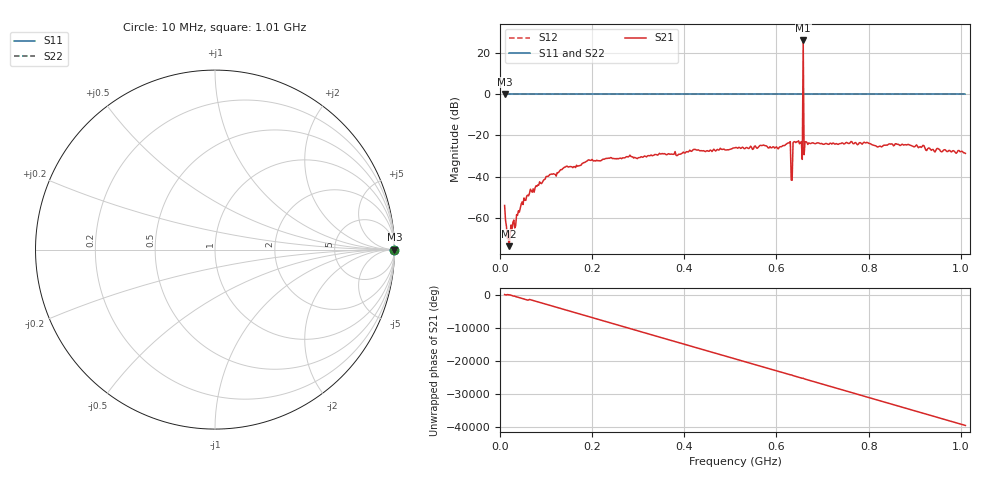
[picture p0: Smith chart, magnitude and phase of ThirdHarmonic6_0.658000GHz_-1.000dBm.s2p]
! 8/15/2025 9:52:02 PM
! C:\ANRITSUVNA\TEMP\TEMP.S2P
! CHANNEL.1
! TR.MEASUREMENT
! RAW.DATA
! RF.CORRECTION.OFF
! AVERAGING.OFF
! IF.BANDWIDTH: 5KHZ
! SWEEPTYPE:  FREQ.SWEEP(Linear)
! Reference Plane Port Info
! PORT:  PORT1  PORT2
! DISTANCE:  0  m  0  m
! TIME:  0  s  0  s
! PHASE.OFFSET:  0  deg.  0  deg.
! LOSS:  0  dB  0  dB
! REF.LOSS:  0  dB  0  dB
! REF.FREQ:  0  Hz  0  Hz
! Power Info
! POWER:  -20  dBm  -20  dBm
! EFF.POWER:  -20  dBm  -20  dBm
! SOURCE.ATTEN:  0  dB  0  dB
! TEST.ATTEN:  0  dB  0  dB
# GHZ S RI R 50.0
! FREQ.GHZ  S11RE  S11IM  S21RE  S21IM  S12RE  S12IM  S22RE  S22IM
!; PortSelection: Port_12
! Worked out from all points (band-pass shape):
!   501 points, 10 MHz to 1.01 GHz, reference 50 ohm
!   highest |S21| = 25.96 dB at 658 MHz (marker M1); lowest = -73.6 dB at 20 MHz (marker M2)
!   |S21| within 3 dB of the highest: 657.8958 MHz to 658.1085 MHz (212.7 kHz wide, 0.0323 % of centre)
!   lowest |S11| = 0.0 dB at 10 MHz (marker M3)
!   |S11| at or under -10 dB: nowhere
!   |S22| runs from 0.0 to 0.0 dB; largest |S21 - S12| = 19
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0.01  1 0  -0.002 0.000163  1 0  1 0
0.016  1 0  -0.000321 3.97e-05  1 0  1 0
0.02  1 0  4.97e-05 0.000202  1 0  1 0
0.048  1 0  0.000938 0.00226  1 0  1 0
0.068  1 0  0.00369 -0.00268  1 0  1 0
0.104  1 0  0.00533 -0.00866  1 0  1 0
0.178  1 0  -0.0207 -0.00157  1 0  1 0
0.344  1 0  0.0285 -0.0199  1 0  1 0
0.51  1 0  -0.0258 0.0431  1 0  1 0
0.6  1 0  -0.00247 0.0528  1 0  1 0
0.626  1 0  -0.0439 0.0489  1 0  1 0
0.63  1 0  0.0602 -0.037  1 0  1 0
0.636  1 0  0.00762 0.0664  1 0  1 0
0.64  1 0  0.0102 -0.0697  1 0  1 0
0.652  1 0  -0.061 0.0299  1 0  1 0
0.654  1 0  0.0193 0.0673  1 0  1 0
0.658  1 0  19.82 1.363  1 0  1 0
0.662  1 0  -0.0167 0.0675  1 0  1 0
0.664  1 0  0.0655 0.0264  1 0  1 0
0.678  1 0  -0.066 0.00281  1 0  1 0
0.844  1 0  0.0447 -0.0429  1 0  1 0
1.01  1 0  0.00134 0.0367  1 0  1 0
